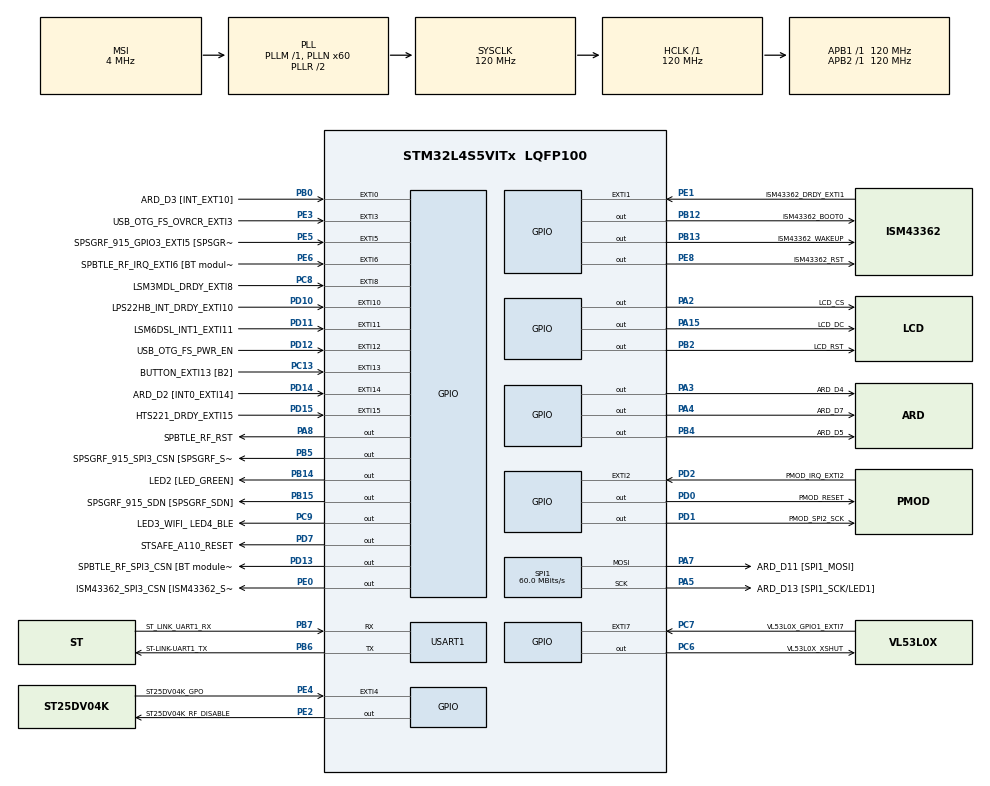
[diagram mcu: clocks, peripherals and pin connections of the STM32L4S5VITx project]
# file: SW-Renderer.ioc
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Dma.Request0=SPI1_TX
Dma.SPI1_TX.0.Direction=DMA_MEMORY_TO_PERIPH
Dma.SPI1_TX.0.EventEnable=DISABLE
Dma.SPI1_TX.0.Instance=DMA1_Channel1
Dma.SPI1_TX.0.MemDataAlignment=DMA_MDATAALIGN_HALFWORD
Dma.SPI1_TX.0.MemInc=DMA_MINC_ENABLE
Dma.SPI1_TX.0.Mode=DMA_NORMAL
Dma.SPI1_TX.0.PeriphDataAlignment=DMA_PDATAALIGN_HALFWORD
Dma.SPI1_TX.0.PeriphInc=DMA_PINC_DISABLE
Dma.SPI1_TX.0.Polarity=HAL_DMAMUX_REQUEST_GEN_RISING
Dma.SPI1_TX.0.Priority=DMA_PRIORITY_HIGH
Dma.SPI1_TX.0.RequestNumber=1
Dma.SPI1_TX.0.SignalID=NONE
Dma.SPI1_TX.0.SyncEnable=DISABLE
Dma.SPI1_TX.0.SyncPolarity=HAL_DMAMUX_SYNC_NO_EVENT
Dma.SPI1_TX.0.SyncRequestNumber=1
Dma.SPI1_TX.0.SyncSignalID=NONE
Mcu.Family=STM32L4
Mcu.Name=STM32L4S5VITx
Mcu.Package=LQFP100
NVIC.DMA1_Channel1_IRQn=true\:0\:0\:false\:false\:true\:false\:true\:true
NVIC.EXTI15_10_IRQn=true\:0\:0\:false\:false\:true\:true\:true\:true
NVIC.EXTI9_5_IRQn=true\:0\:0\:false\:false\:true\:true\:true\:true
NVIC.PriorityGroup=NVIC_PRIORITYGROUP_4
NVIC.SPI1_IRQn=true\:0\:0\:false\:false\:true\:true\:true\:true
PA0.GPIO_Label=ARD_D1 [UART4_TX]
PA0.GPIO_ModeDefaultPP=GPIO_MODE_AF_PP
PA0.GPIO_PuPd=GPIO_NOPULL
PA0.GPIO_Speed=GPIO_SPEED_FREQ_VERY_HIGH
PA0.Signal=UART4_TX
PA1.GPIO_Label=ARD_D0 [UART4_RX]
PA1.GPIO_ModeDefaultPP=GPIO_MODE_AF_PP
PA1.GPIO_PuPd=GPIO_NOPULL
PA1.GPIO_Speed=GPIO_SPEED_FREQ_VERY_HIGH
PA1.Signal=UART4_RX
PA13\ (JTMS/SWDIO).GPIO_Label=SYS_JTMS_SWDIO
PA13\ (JTMS/SWDIO).Mode=Serial_Wire
PA13\ (JTMS/SWDIO).Signal=SYS_JTMS-SWDIO
PA14\ (JTCK/SWCLK).GPIO_Label=SYS_JTCK_SWCLK
PA14\ (JTCK/SWCLK).Mode=Serial_Wire
PA14\ (JTCK/SWCLK).Signal=SYS_JTCK-SWCLK
PA15\ (JTDI).GPIO_Label=LCD_DC
PA15\ (JTDI).Signal=GPIO_Output
PA2.GPIO_Label=LCD_CS
PA2.Signal=GPIO_Output
PA3.GPIO_Label=ARD_D4
PA3.Signal=GPIO_Output
PA4.GPIO_Label=ARD_D7
PA4.Signal=GPIO_Output
PA5.GPIO_Label=ARD_D13 [SPI1_SCK/LED1]
PA5.GPIO_Mode=GPIO_MODE_AF_PP
PA5.GPIO_PuPd=GPIO_NOPULL
PA5.GPIO_Speed=GPIO_SPEED_FREQ_VERY_HIGH
PA5.Mode=TX_Only_Simplex_Unidirect_Master
PA5.Signal=SPI1_SCK
PA6.GPIO_Label=ARD_D12 [SPI1_MISO]
PA6.GPIO_Mode=GPIO_MODE_AF_PP
PA6.GPIO_PuPd=GPIO_NOPULL
PA6.GPIO_Speed=GPIO_SPEED_FREQ_VERY_HIGH
PA6.Signal=SPI1_MISO
PA7.GPIO_Label=ARD_D11 [SPI1_MOSI]
PA7.GPIO_Mode=GPIO_MODE_AF_PP
PA7.GPIO_PuPd=GPIO_NOPULL
PA7.GPIO_Speed=GPIO_SPEED_FREQ_VERY_HIGH
PA7.Mode=TX_Only_Simplex_Unidirect_Master
PA7.Signal=SPI1_MOSI
PA8.GPIO_Label=SPBTLE_RF_RST
PA8.GPIO_ModeDefaultOutputPP=GPIO_MODE_OUTPUT_PP
PA8.GPIO_PuPd=GPIO_NOPULL
PA8.GPIO_Speed=GPIO_SPEED_FREQ_LOW
PA8.PinState=GPIO_PIN_RESET
PA8.Signal=GPIO_Output
PA9.GPIO_Label=USB_OTG_FS_VBUS
PA9.GPIO_Mode=GPIO_MODE_INPUT
PA9.GPIO_PuPd=GPIO_NOPULL
PA9.Signal=USB_OTG_FS_VBUS
PB0.GPIO_Label=ARD_D3 [INT_EXT10]
PB0.GPIO_ModeDefaultEXTI=GPIO_MODE_IT_RISING
PB0.GPIO_PuPd=GPIO_NOPULL
PB0.Signal=GPXTI0
PB1.GPIO_Label=ARD_D6
PB1.GPIO_Speed=GPIO_SPEED_FREQ_LOW
PB1.Signal=S_TIM3_CH4
PB10.GPIO_Label=INTERNAL_I2C2_SCL [MEMs]
PB10.GPIO_Mode=GPIO_MODE_AF_OD
PB10.GPIO_PuPdOD=GPIO_PULLUP
PB10.GPIO_Speed=GPIO_SPEED_FREQ_VERY_HIGH
PB10.Signal=I2C2_SCL
PB11.GPIO_Label=INTERNAL_I2C2_SDA [MEMs]
PB11.GPIO_Mode=GPIO_MODE_AF_OD
PB11.GPIO_PuPdOD=GPIO_PULLUP
PB11.GPIO_Speed=GPIO_SPEED_FREQ_VERY_HIGH
PB11.Signal=I2C2_SDA
PB12.GPIO_Label=ISM43362_BOOT0
PB12.GPIO_ModeDefaultOutputPP=GPIO_MODE_OUTPUT_PP
PB12.GPIO_PuPd=GPIO_NOPULL
PB12.GPIO_Speed=GPIO_SPEED_FREQ_LOW
PB12.PinState=GPIO_PIN_RESET
PB12.Signal=GPIO_Output
PB13.GPIO_Label=ISM43362_WAKEUP
PB13.GPIO_ModeDefaultOutputPP=GPIO_MODE_OUTPUT_PP
PB13.GPIO_PuPd=GPIO_NOPULL
PB13.GPIO_Speed=GPIO_SPEED_FREQ_LOW
PB13.PinState=GPIO_PIN_RESET
PB13.Signal=GPIO_Output
PB14.GPIO_Label=LED2 [LED_GREEN]
PB14.GPIO_ModeDefaultOutputPP=GPIO_MODE_OUTPUT_PP
PB14.GPIO_PuPd=GPIO_NOPULL
PB14.GPIO_Speed=GPIO_SPEED_FREQ_LOW
PB14.PinState=GPIO_PIN_RESET
PB14.Signal=GPIO_Output
PB15.GPIO_Label=SPSGRF_915_SDN [SPSGRF_SDN]
PB15.Signal=GPIO_Output
PB2.GPIO_Label=LCD_RST
PB2.Signal=GPIO_Output
PB3\ (JTDO/TRACESWO).GPIO_Label=SYS_JTD0_SWO
PB3\ (JTDO/TRACESWO).Signal=SYS_JTDO-SWO
PB4\ (NJTRST).GPIO_Label=ARD_D5
PB4\ (NJTRST).GPIO_ModeDefaultOutputPP=GPIO_MODE_OUTPUT_PP
PB4\ (NJTRST).GPIO_PuPd=GPIO_NOPULL
PB4\ (NJTRST).GPIO_Speed=GPIO_SPEED_FREQ_LOW
PB4\ (NJTRST).PinState=GPIO_PIN_RESET
PB4\ (NJTRST).Signal=GPIO_Output
PB5.GPIO_Label=SPSGRF_915_SPI3_CSN [SPSGRF_SPI_CS]
PB5.Signal=GPIO_Output
PB6.GPIO_FM6=__NULL
PB6.GPIO_Label=ST-LINK-UART1_TX
PB6.GPIO_ModeDefaultPP=GPIO_MODE_AF_PP
PB6.GPIO_PuPd=GPIO_NOPULL
PB6.GPIO_Speed=GPIO_SPEED_FREQ_VERY_HIGH
PB6.Mode=Asynchronous
PB6.Signal=USART1_TX
PB7.GPIO_FM7=__NULL
PB7.GPIO_Label=ST_LINK_UART1_RX
PB7.GPIO_ModeDefaultPP=GPIO_MODE_AF_PP
PB7.GPIO_PuPd=GPIO_NOPULL
PB7.GPIO_Speed=GPIO_SPEED_FREQ_VERY_HIGH
PB7.Mode=Asynchronous
PB7.Signal=USART1_RX
PB8.GPIO_FM8=__NULL
PB8.GPIO_Label=ARD_D15 [I2C1_SCL]
PB8.GPIO_Mode=GPIO_MODE_AF_OD
PB8.GPIO_PuPdOD=GPIO_PULLUP
PB8.GPIO_Speed=GPIO_SPEED_FREQ_VERY_HIGH
PB8.Signal=I2C1_SCL
PB9.GPIO_FM9=__NULL
PB9.GPIO_Label=ARD_D14 [I2C1_SDA]
PB9.GPIO_Mode=GPIO_MODE_AF_OD
PB9.GPIO_PuPdOD=GPIO_PULLUP
PB9.GPIO_Speed=GPIO_SPEED_FREQ_VERY_HIGH
PB9.Signal=I2C1_SDA
PC0.GPIO_Label=ARD_A5 [ADC]
PC0.GPIO_Mode=GPIO_MODE_ANALOG_ADC_CONTROL
PC0.GPIO_PuPd=GPIO_NOPULL
PC0.Signal=ADCx_IN1
PC1.GPIO_Label=ARD_A4 [ADC]
PC1.GPIO_Mode=GPIO_MODE_ANALOG_ADC_CONTROL
PC1.GPIO_PuPd=GPIO_NOPULL
PC1.Signal=ADCx_IN2
PC10.GPIO_Label=INTERNAL-SPI3_SCK [BT module_SPI_MOSI] [ISM43362_MOSI]
PC10.GPIO_Mode=GPIO_MODE_AF_PP
PC10.GPIO_PuPd=GPIO_NOPULL
PC10.GPIO_Speed=GPIO_SPEED_FREQ_VERY_HIGH
PC10.Signal=SPI3_SCK
PC11.GPIO_Label=INTERNAL_SPI3_MISO [BT module_SPI_MOSI] [ISM43362_MOSI]
PC11.GPIO_Mode=GPIO_MODE_AF_PP
PC11.GPIO_PuPd=GPIO_NOPULL
PC11.GPIO_Speed=GPIO_SPEED_FREQ_VERY_HIGH
PC11.Signal=SPI3_MISO
PC12.GPIO_Label=INTERNAL_SPI3_MOSI [BT module_SPI_MOSI] [ISM43362_MOSI]
PC12.GPIO_Mode=GPIO_MODE_AF_PP
PC12.GPIO_PuPd=GPIO_NOPULL
PC12.GPIO_Speed=GPIO_SPEED_FREQ_VERY_HIGH
PC12.Signal=SPI3_MOSI
PC13.GPIO_Label=BUTTON_EXTI13 [B2]
PC13.GPIO_ModeDefaultEXTI=GPIO_MODE_IT_RISING
PC13.GPIO_PuPd=GPIO_NOPULL
PC13.Signal=GPXTI13
PC2.GPIO_Label=ARD_A3 [ADC]
PC2.GPIO_Mode=GPIO_MODE_ANALOG_ADC_CONTROL
PC2.GPIO_PuPd=GPIO_NOPULL
PC2.Signal=ADCx_IN3
PC3.GPIO_Label=ARD_A2 [ADC]
PC3.GPIO_Mode=GPIO_MODE_ANALOG_ADC_CONTROL
PC3.GPIO_PuPd=GPIO_NOPULL
PC3.Signal=ADCx_IN4
PC4.GPIO_Label=ARD_A1 [ADC]
PC4.GPIO_Mode=GPIO_MODE_ANALOG_ADC_CONTROL
PC4.GPIO_PuPd=GPIO_NOPULL
PC4.Signal=ADCx_IN13
PC5.GPIO_Label=ARD_A0 [ADC]
PC5.GPIO_Mode=GPIO_MODE_ANALOG_ADC_CONTROL
PC5.GPIO_PuPd=GPIO_NOPULL
PC5.Signal=ADCx_IN14
PC6.GPIO_Label=VL53L0X_XSHUT
PC6.GPIO_ModeDefaultOutputPP=GPIO_MODE_OUTPUT_PP
PC6.GPIO_PuPd=GPIO_NOPULL
PC6.GPIO_Speed=GPIO_SPEED_FREQ_LOW
PC6.PinState=GPIO_PIN_RESET
PC6.Signal=GPIO_Output
PC7.GPIO_Label=VL53L0X_GPIO1_EXTI7
PC7.GPIO_ModeDefaultEXTI=GPIO_MODE_IT_RISING
PC7.GPIO_PuPd=GPIO_NOPULL
PC7.Signal=GPXTI7
PC8.GPIO_Label=LSM3MDL_DRDY_EXTI8
PC8.GPIO_ModeDefaultEXTI=GPIO_MODE_IT_RISING
PC8.GPIO_PuPd=GPIO_NOPULL
PC8.Signal=GPXTI8
PC9.GPIO_Label=LED3_WIFI_ LED4_BLE
PC9.GPIO_ModeDefaultOutputPP=GPIO_MODE_OUTPUT_PP
PC9.GPIO_PuPd=GPIO_NOPULL
PC9.GPIO_Speed=GPIO_SPEED_FREQ_LOW
PC9.PinState=GPIO_PIN_RESET
PC9.Signal=GPIO_Output
PD0.GPIO_Label=PMOD_RESET
PD0.GPIO_ModeDefaultOutputPP=GPIO_MODE_OUTPUT_PP
PD0.GPIO_PuPd=GPIO_NOPULL
PD0.GPIO_Speed=GPIO_SPEED_FREQ_LOW
PD0.PinState=GPIO_PIN_RESET
PD0.Signal=GPIO_Output
PD1.GPIO_Label=PMOD_SPI2_SCK
PD1.Signal=GPIO_Output
PD10.GPIO_Label=LPS22HB_INT_DRDY_EXTI10
PD10.GPIO_ModeDefaultEXTI=GPIO_MODE_IT_RISING
PD10.GPIO_PuPd=GPIO_NOPULL
PD10.Signal=GPXTI10
PD11.GPIO_Label=LSM6DSL_INT1_EXTI11
PD11.GPIO_ModeDefaultEXTI=GPIO_MODE_IT_RISING
PD11.GPIO_PuPd=GPIO_NOPULL
PD11.Signal=GPXTI11
PD12.GPIO_Label=USB_OTG_FS_PWR_EN
PD12.GPIO_ModeDefaultEXTI=GPIO_MODE_IT_RISING
PD12.GPIO_PuPd=GPIO_NOPULL
PD12.Signal=GPXTI12
PD13.GPIO_Label=SPBTLE_RF_SPI3_CSN [BT module_SPI_CS]
PD13.GPIO_ModeDefaultOutputPP=GPIO_MODE_OUTPUT_PP
PD13.GPIO_PuPd=GPIO_NOPULL
PD13.GPIO_Speed=GPIO_SPEED_FREQ_LOW
PD13.PinState=GPIO_PIN_RESET
PD13.Signal=GPIO_Output
PD14.GPIO_Label=ARD_D2 [INT0_EXTI14]
PD14.GPIO_ModeDefaultEXTI=GPIO_MODE_IT_RISING
PD14.GPIO_PuPd=GPIO_NOPULL
PD14.Signal=GPXTI14
PD15.GPIO_Label=HTS221_DRDY_EXTI15
PD15.GPIO_ModeDefaultEXTI=GPIO_MODE_IT_RISING
PD15.GPIO_PuPd=GPIO_NOPULL
PD15.Signal=GPXTI15
PD2.GPIO_Label=PMOD_IRQ_EXTI2
PD2.GPIO_ModeDefaultEXTI=GPIO_MODE_IT_RISING
PD2.GPIO_PuPd=GPIO_NOPULL
PD2.Signal=GPXTI2
PD3.GPIO_Label=PMOD_UART2_CTS
PD3.GPIO_Mode=GPIO_MODE_AF_PP
PD3.GPIO_PuPd=GPIO_NOPULL
PD3.GPIO_Speed=GPIO_SPEED_FREQ_VERY_HIGH
PD3.Signal=USART2_CTS
PD4.GPIO_Label=PMOD_UART2_RTS
PD4.GPIO_Mode=GPIO_MODE_AF_PP
PD4.GPIO_PuPd=GPIO_NOPULL
PD4.GPIO_Speed=GPIO_SPEED_FREQ_VERY_HIGH
PD4.Signal=USART2_RTS
PD5.GPIO_Label=PMOD_UART2_TX
PD5.GPIO_ModeDefaultPP=GPIO_MODE_AF_PP
PD5.GPIO_PuPd=GPIO_NOPULL
PD5.GPIO_Speed=GPIO_SPEED_FREQ_VERY_HIGH
PD5.Signal=USART2_TX
PD6.GPIO_Label=PMOD_UART2_RX
PD6.GPIO_ModeDefaultPP=GPIO_MODE_AF_PP
PD6.GPIO_PuPd=GPIO_NOPULL
PD6.GPIO_Speed=GPIO_SPEED_FREQ_VERY_HIGH
PD6.Signal=USART2_RX
PD7.GPIO_Label=STSAFE_A110_RESET
PD7.GPIO_ModeDefaultOutputPP=GPIO_MODE_OUTPUT_PP
PD7.GPIO_PuPd=GPIO_NOPULL
PD7.GPIO_Speed=GPIO_SPEED_FREQ_LOW
PD7.PinState=GPIO_PIN_RESET
PD7.Signal=GPIO_Output
PD8.GPIO_Label=INTERNAL_UART3_TX [ISM43362_RX]
PD8.GPIO_ModeDefaultPP=GPIO_MODE_AF_PP
PD8.GPIO_PuPd=GPIO_NOPULL
PD8.GPIO_Speed=GPIO_SPEED_FREQ_VERY_HIGH
PD8.Signal=USART3_TX
PD9.GPIO_Label=INTERNAL_UART3_RX [ISM43362_TX]
PD9.GPIO_ModeDefaultPP=GPIO_MODE_AF_PP
PD9.GPIO_PuPd=GPIO_NOPULL
PD9.GPIO_Speed=GPIO_SPEED_FREQ_VERY_HIGH
PD9.Signal=USART3_RX
PE0.GPIO_Label=ISM43362_SPI3_CSN [ISM43362_SSN]
PE0.GPIO_ModeDefaultOutputPP=GPIO_MODE_OUTPUT_PP
PE0.GPIO_PuPd=GPIO_NOPULL
PE0.GPIO_Speed=GPIO_SPEED_FREQ_LOW
PE0.PinState=GPIO_PIN_RESET
PE0.Signal=GPIO_Output
PE1.GPIO_Label=ISM43362_DRDY_EXTI1
PE1.GPIO_ModeDefaultEXTI=GPIO_MODE_IT_RISING
PE1.GPIO_PuPd=GPIO_NOPULL
PE1.Signal=GPXTI1
PE10.GPIO_Label=QUADSPI_CLK [MX25R6435F_SCLK]
PE10.GPIO_Mode=GPIO_MODE_AF_PP
PE10.GPIO_PuPd=GPIO_NOPULL
PE10.GPIO_Speed_High_Default=GPIO_SPEED_FREQ_VERY_HIGH
PE10.Signal=OCTOSPIM_P1_CLK
PE11.GPIO_Label=QUADSPI_NCS [MX25R6435F_SCLK]
PE11.GPIO_Mode=GPIO_MODE_AF_PP
PE11.GPIO_PuPd=GPIO_NOPULL
PE11.GPIO_Speed_High_Default=GPIO_SPEED_FREQ_VERY_HIGH
PE11.Signal=OCTOSPIM_P1_NCS
PE12.GPIO_Label=OQUADSPI_BK1_IO0 [MX25R6435F_IO0]
PE12.GPIO_Mode=GPIO_MODE_AF_PP
PE12.GPIO_PuPd=GPIO_NOPULL
PE12.GPIO_Speed_High_Default=GPIO_SPEED_FREQ_VERY_HIGH
PE12.Signal=OCTOSPIM_P1_IO0
PE13.GPIO_Label=QUADSPI_BK1_IO1 [MX25R6435F_IO1]
PE13.GPIO_Mode=GPIO_MODE_AF_PP
PE13.GPIO_PuPd=GPIO_NOPULL
PE13.GPIO_Speed_High_Default=GPIO_SPEED_FREQ_VERY_HIGH
PE13.Signal=OCTOSPIM_P1_IO1
PE14.GPIO_Label=QUAD_SPI_BK1_IO2 [MX25R6435F_IO2]
PE14.GPIO_Mode=GPIO_MODE_AF_PP
PE14.GPIO_PuPd=GPIO_NOPULL
PE14.GPIO_Speed_High_Default=GPIO_SPEED_FREQ_VERY_HIGH
PE14.Signal=OCTOSPIM_P1_IO2
PE15.GPIO_Label=QUAD_SPI_BK1_IO3 [MX25R6435F_IO3]
PE15.GPIO_Mode=GPIO_MODE_AF_PP
PE15.GPIO_PuPd=GPIO_NOPULL
PE15.GPIO_Speed_High_Default=GPIO_SPEED_FREQ_VERY_HIGH
PE15.Signal=OCTOSPIM_P1_IO3
PE2.GPIO_Label=ST25DV04K_RF_DISABLE
PE2.GPIO_ModeDefaultOutputPP=GPIO_MODE_OUTPUT_PP
PE2.GPIO_PuPd=GPIO_NOPULL
PE2.GPIO_Speed=GPIO_SPEED_FREQ_LOW
PE2.PinState=GPIO_PIN_RESET
PE2.Signal=GPIO_Output
PE3.GPIO_Label=USB_OTG_FS_OVRCR_EXTI3
PE3.GPIO_ModeDefaultEXTI=GPIO_MODE_IT_RISING
PE3.GPIO_PuPd=GPIO_NOPULL
PE3.Signal=GPXTI3
PE4.GPIO_Label=ST25DV04K_GPO
PE4.GPIO_ModeDefaultEXTI=GPIO_MODE_IT_RISING
PE4.GPIO_PuPd=GPIO_NOPULL
PE4.Signal=GPXTI4
PE5.GPIO_Label=SPSGRF_915_GPIO3_EXTI5 [SPSGRF_GPIO_3]
PE5.Signal=GPXTI5
PE6.GPIO_Label=SPBTLE_RF_IRQ_EXTI6 [BT module_SPI_IRQ]
PE6.GPIO_ModeDefaultEXTI=GPIO_MODE_IT_RISING
PE6.GPIO_PuPd=GPIO_NOPULL
PE6.Signal=GPXTI6
PE7.GPIO_Label=DFSDM1_DATIN2 [MP34DT01_DOUT]
PE7.GPIO_Mode=GPIO_MODE_AF_PP
PE7.GPIO_PuPd=GPIO_NOPULL
PE7.GPIO_Speed=GPIO_SPEED_FREQ_LOW
PE7.Signal=S_DATAIN2DFSDM1
PE8.GPIO_Label=ISM43362_RST
PE8.GPIO_ModeDefaultOutputPP=GPIO_MODE_OUTPUT_PP
PE8.GPIO_PuPd=GPIO_NOPULL
PE8.GPIO_Speed=GPIO_SPEED_FREQ_LOW
PE8.PinState=GPIO_PIN_RESET
PE8.Signal=GPIO_Output
PE9.GPIO_Label=DFSDM1_CKOUT [MP34DT01_CLK]
PE9.GPIO_Mode=GPIO_MODE_AF_PP
PE9.GPIO_PuPd=GPIO_NOPULL
PE9.GPIO_Speed=GPIO_SPEED_FREQ_LOW
PE9.Signal=S_CKOUTDFSDM1
ProjectManager.HeapSize=0x200
ProjectManager.StackSize=0x400
ProjectManager.TargetToolchain=STM32CubeIDE
RCC.ADCFreq_Value=48000000
RCC.AHBFreq_Value=120000000
RCC.APB1Freq_Value=120000000
RCC.APB1TimFreq_Value=120000000
RCC.APB2Freq_Value=120000000
RCC.APB2TimFreq_Value=120000000
RCC.CortexFreq_Value=120000000
RCC.HCLKFreq_Value=120000000
RCC.HSE_VALUE=8000000
RCC.HSI48_VALUE=48000000
RCC.HSI_VALUE=16000000
RCC.LSE_VALUE=32768
RCC.MSI_VALUE=4000000
RCC.PLLN=60
RCC.PLLSAI1N=24
RCC.SYSCLKFreq_VALUE=120000000
RCC.SYSCLKSource=RCC_SYSCLKSOURCE_PLLCLK
RCC.USBFreq_Value=48000000
RCC.VCOOutputFreq_Value=240000000
SH.ADCx_IN1.0=ADC1_IN1
SH.ADCx_IN13.0=ADC1_IN13
SH.ADCx_IN14.0=ADC1_IN14
SH.ADCx_IN2.0=ADC1_IN2
SH.ADCx_IN3.0=ADC1_IN3
SH.ADCx_IN4.0=ADC1_IN4
SH.S_CKOUTDFSDM1.0=DFSDM1_CKOUT
SH.S_DATAIN2DFSDM1.0=DFSDM1_DATIN2
SH.S_TIM3_CH4.0=TIM3_CH4
SPI1.BaudRatePrescaler=SPI_BAUDRATEPRESCALER_2
SPI1.CalculateBaudRate=60.0 MBits/s
SPI1.DataSize=SPI_DATASIZE_16BIT
SPI1.Direction=SPI_DIRECTION_2LINES
SPI1.Mode=SPI_MODE_MASTER
SPI1.VirtualType=VM_MASTER
USART1.VirtualMode-Asynchronous=VM_ASYNC
board=B-L4S5I-IOT01A

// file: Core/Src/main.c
/* USER CODE BEGIN Header */
/**
  ******************************************************************************
  * @file           : main.c
  * @brief          : Main program body
  ******************************************************************************
  * @attention
  *
  * Copyright (c) 2026 STMicroelectronics.
  * All rights reserved.
  *
  * This software is licensed under terms that can be found in the LICENSE file
  * in the root directory of this software component.
  * If no LICENSE file comes with this software, it is provided AS-IS.
  *
  ******************************************************************************
  */
/* USER CODE END Header */
#include "main.h"

/* USER CODE BEGIN Includes */
#include <stdio.h>
#include "lcd.h"
#include "timing.h"
#include "gfx.h"
#include "mat.h"
#include "render.h"
/* USER CODE END Includes */

SPI_HandleTypeDef hspi1;
DMA_HandleTypeDef hdma_spi1_tx;

UART_HandleTypeDef huart1;

void SystemClock_Config(void);
static void MX_GPIO_Init(void);
static void MX_DMA_Init(void);
static void MX_SPI1_Init(void);
static void MX_USART1_UART_Init(void);

/* USER CODE BEGIN PFP */
int __io_putchar(int ch);
/* USER CODE END PFP */

int main(void)
{

  /* MCU Configuration--------------------------------------------------------*/

  /* Reset of all peripherals, Initializes the Flash interface and the Systick. */
  HAL_Init();

  /* Configure the system clock */
  SystemClock_Config();

  /* Initialize all configured peripherals */
  MX_GPIO_Init();
  MX_DMA_Init();
  MX_SPI1_Init();
  MX_USART1_UART_Init();
  /* USER CODE BEGIN 2 */
  setvbuf(stdout, NULL, _IONBF, 0);
  printf("SW-Renderer boot, SYSCLK=%lu\r\n", HAL_RCC_GetSysClockFreq());

  Timing_Init();

  //timer sanity check: should print ~100000 us
  uint32_t t0 = timing_cycles();
  HAL_Delay(100);
  printf("HAL_Delay(100) = %lu us\r\n", cycle_to_us(timing_cycles() - t0));

  lcd_init(&hspi1);
  printf("lcd init done\r\n");

  //light from the upper left, slightly in front (camera space: x right, y up, z away)
  render_set_light(vec3_make(FX(-1.0), FX(1.0), FX(-1.0)));
  const mesh *model = &mesh_torus; //or &mesh_cube
  const uint16_t model_color = GFX_RGB(240, 150, 40); //used when the mesh has no per-triangle colors
  const vec3 model_pos = { 0, 0, FX(4.0) }; //model center is 4 units in front of the camera

  printf("strips: %d rows, %d per frame, buffers %lu bytes\r\n", GFX_STRIP_ROWS, GFX_HEIGHT / GFX_STRIP_ROWS,
         (unsigned long)(3 * GFX_STRIP_PIXELS * sizeof(uint16_t)));

  //one-time benchmark: cost of a 64-bit division (no hardware support on the M4,
  //so it's a software routine). volatile so the compiler can't precompute it
  {
    volatile int64_t num = 0x123456789ALL, den = 12345;
    volatile int64_t sink = 0;
    uint32_t t_div = timing_cycles();
    for (int i = 0; i < 1000; i++)
      sink = num / (den + i);
    t_div = timing_cycles() - t_div;
    (void)sink;
    printf("64-bit divide: ~%lu cycles each (incl. loop)\r\n", t_div / 1000);
  }

  fx_angle ax = 0, ay = 0, az = 0;
  uint32_t frame = 0, prep_sum = 0, clear_sum = 0, draw_sum = 0, wait_sum = 0, frame_sum = 0, raster_calls = 0;
  render_stats stats = { 0 };
  uint32_t frame_start = timing_cycles();
  /* USER CODE END 2 */

  /* Infinite loop */
  while (1)
  {

    /* USER CODE BEGIN 3 */
    uint32_t t = timing_cycles();

    mat3 rot;
    mat3_rotate_xyz(&rot, ax, ay, az);
    render_prepare(model, &rot, model_pos, model_color, 1, &stats);

    prep_sum += timing_cycles() - t;

    for (int32_t y0 = 0; y0 < GFX_HEIGHT; y0 += GFX_STRIP_ROWS)
    {
      t = timing_cycles();
      gfx_begin_strip(y0, GFX_STRIP_ROWS);
      gfx_clear(GFX_BLACK);
      gfx_clear_depth();
      uint32_t t_draw = timing_cycles();
      clear_sum += t_draw - t;

      raster_calls += render_draw();
      draw_sum += timing_cycles() - t_draw;

      //double buffering: the previous frame (in the other buffer) may still be sending.
      //wait for it to finish, since that buffer is the one we draw into next.
      uint32_t wait_start = timing_cycles();
      while (lcd_busy()) {}
      wait_sum += timing_cycles() - wait_start;

      //send the frame just drawn (returns right away) and switch to the other buffer
      lcd_draw_rows(gfx_swap(), y0, GFX_STRIP_ROWS);
    }

    uint32_t now = timing_cycles();
    frame_sum += now - frame_start;
    frame_start = now;

    //print averages every 30 frames (printing every frame would slow it down)
    if (++frame % 30 == 0)
    {
      uint32_t frame_us = cycle_to_us(frame_sum / 30);
      uint32_t prep_us = cycle_to_us(prep_sum / 30);
      uint32_t clear_us = cycle_to_us(clear_sum / 30);
      uint32_t draw_us = cycle_to_us(draw_sum / 30);
      uint32_t render_us = prep_us + clear_us + draw_us;
      printf("render %lu us (prepare %lu, clear %lu, draw %lu), wait %lu us, frame %lu us, %lu FPS, CPU busy %lu%%"
             " | tris/frame: %lu drawn, %lu culled, %lu raster calls\r\n",
             render_us, prep_us, clear_us, draw_us, cycle_to_us(wait_sum / 30), frame_us, 1000000 / frame_us,
             render_us * 100 / frame_us, stats.tris_drawn / 30, stats.tris_culled / 30, raster_calls / 30);
      prep_sum = clear_sum = draw_sum = wait_sum = frame_sum = raster_calls = 0;
      stats = (render_stats){ 0 };
    }

    //different speed per axis gives a tumbling motion
    ax += 13;
    ay += 21;
    az += 8;
  }
  /* USER CODE END 3 */
}

void SystemClock_Config(void)
{
  RCC_OscInitTypeDef RCC_OscInitStruct = {0};
  RCC_ClkInitTypeDef RCC_ClkInitStruct = {0};

  /** Configure the main internal regulator output voltage
  */
  if (HAL_PWREx_ControlVoltageScaling(PWR_REGULATOR_VOLTAGE_SCALE1_BOOST) != HAL_OK)
  {
    Error_Handler();
  }

  /** Initializes the RCC Oscillators according to the specified parameters
  * in the RCC_OscInitTypeDef structure.
  */
  RCC_OscInitStruct.OscillatorType = RCC_OSCILLATORTYPE_MSI;
  RCC_OscInitStruct.MSIState = RCC_MSI_ON;
  RCC_OscInitStruct.MSICalibrationValue = 0;
  RCC_OscInitStruct.MSIClockRange = RCC_MSIRANGE_6;
  RCC_OscInitStruct.PLL.PLLState = RCC_PLL_ON;
  RCC_OscInitStruct.PLL.PLLSource = RCC_PLLSOURCE_MSI;
  RCC_OscInitStruct.PLL.PLLM = 1;
  RCC_OscInitStruct.PLL.PLLN = 60;
  RCC_OscInitStruct.PLL.PLLP = RCC_PLLP_DIV2;
  RCC_OscInitStruct.PLL.PLLQ = RCC_PLLQ_DIV2;
  RCC_OscInitStruct.PLL.PLLR = RCC_PLLR_DIV2;
  if (HAL_RCC_OscConfig(&RCC_OscInitStruct) != HAL_OK)
  {
    Error_Handler();
  }

  /** Initializes the CPU, AHB and APB buses clocks
  */
  RCC_ClkInitStruct.ClockType = RCC_CLOCKTYPE_HCLK|RCC_CLOCKTYPE_SYSCLK
                              |RCC_CLOCKTYPE_PCLK1|RCC_CLOCKTYPE_PCLK2;
  RCC_ClkInitStruct.SYSCLKSource = RCC_SYSCLKSOURCE_PLLCLK;
  RCC_ClkInitStruct.AHBCLKDivider = RCC_SYSCLK_DIV1;
  RCC_ClkInitStruct.APB1CLKDivider = RCC_HCLK_DIV1;
  RCC_ClkInitStruct.APB2CLKDivider = RCC_HCLK_DIV1;

  if (HAL_RCC_ClockConfig(&RCC_ClkInitStruct, FLASH_LATENCY_5) != HAL_OK)
  {
    Error_Handler();
  }
}

static void MX_SPI1_Init(void)
{

  /* SPI1 parameter configuration*/
  hspi1.Instance = SPI1;
  hspi1.Init.Mode = SPI_MODE_MASTER;
  hspi1.Init.Direction = SPI_DIRECTION_2LINES;
  hspi1.Init.DataSize = SPI_DATASIZE_16BIT;
  hspi1.Init.CLKPolarity = SPI_POLARITY_LOW;
  hspi1.Init.CLKPhase = SPI_PHASE_1EDGE;
  hspi1.Init.NSS = SPI_NSS_SOFT;
  hspi1.Init.BaudRatePrescaler = SPI_BAUDRATEPRESCALER_2;
  hspi1.Init.FirstBit = SPI_FIRSTBIT_MSB;
  hspi1.Init.TIMode = SPI_TIMODE_DISABLE;
  hspi1.Init.CRCCalculation = SPI_CRCCALCULATION_DISABLE;
  hspi1.Init.CRCPolynomial = 7;
  hspi1.Init.CRCLength = SPI_CRC_LENGTH_DATASIZE;
  hspi1.Init.NSSPMode = SPI_NSS_PULSE_ENABLE;
  if (HAL_SPI_Init(&hspi1) != HAL_OK)
  {
    Error_Handler();
  }

}

static void MX_USART1_UART_Init(void)
{

  huart1.Instance = USART1;
  huart1.Init.BaudRate = 115200;
  huart1.Init.WordLength = UART_WORDLENGTH_8B;
  huart1.Init.StopBits = UART_STOPBITS_1;
  huart1.Init.Parity = UART_PARITY_NONE;
  huart1.Init.Mode = UART_MODE_TX_RX;
  huart1.Init.HwFlowCtl = UART_HWCONTROL_NONE;
  huart1.Init.OverSampling = UART_OVERSAMPLING_16;
  huart1.Init.OneBitSampling = UART_ONE_BIT_SAMPLE_DISABLE;
  huart1.Init.ClockPrescaler = UART_PRESCALER_DIV1;
  huart1.AdvancedInit.AdvFeatureInit = UART_ADVFEATURE_NO_INIT;
  if (HAL_UART_Init(&huart1) != HAL_OK)
  {
    Error_Handler();
  }
  if (HAL_UARTEx_SetTxFifoThreshold(&huart1, UART_TXFIFO_THRESHOLD_1_8) != HAL_OK)
  {
    Error_Handler();
  }
  if (HAL_UARTEx_SetRxFifoThreshold(&huart1, UART_RXFIFO_THRESHOLD_1_8) != HAL_OK)
  {
    Error_Handler();
  }
  if (HAL_UARTEx_DisableFifoMode(&huart1) != HAL_OK)
  {
    Error_Handler();
  }

}

static void MX_DMA_Init(void)
{

  /* DMA controller clock enable */
  __HAL_RCC_DMAMUX1_CLK_ENABLE();
  __HAL_RCC_DMA1_CLK_ENABLE();

  /* DMA interrupt init */
  /* DMA1_Channel1_IRQn interrupt configuration */
  HAL_NVIC_SetPriority(DMA1_Channel1_IRQn, 0, 0);
  HAL_NVIC_EnableIRQ(DMA1_Channel1_IRQn);

}

static void MX_GPIO_Init(void)
{
  GPIO_InitTypeDef GPIO_InitStruct = {0};

  /* GPIO Ports Clock Enable */
  __HAL_RCC_GPIOE_CLK_ENABLE();
  __HAL_RCC_GPIOC_CLK_ENABLE();
  __HAL_RCC_GPIOA_CLK_ENABLE();
  __HAL_RCC_GPIOB_CLK_ENABLE();
  __HAL_RCC_GPIOD_CLK_ENABLE();

  /*Configure GPIO pin Output Level */
  HAL_GPIO_WritePin(GPIOE, ST25DV04K_RF_DISABLE_Pin|ISM43362_RST_Pin|ISM43362_SPI3_CSN_Pin, GPIO_PIN_RESET);

  /*Configure GPIO pin Output Level */
  HAL_GPIO_WritePin(GPIOA, LCD_CS_Pin|ARD_D4_Pin|ARD_D7_Pin|SPBTLE_RF_RST_Pin
                          |LCD_DC_Pin, GPIO_PIN_RESET);

  /*Configure GPIO pin Output Level */
  HAL_GPIO_WritePin(GPIOB, LCD_RST_Pin|ISM43362_BOOT0_Pin|ISM43362_WAKEUP_Pin|LED2_Pin
                          |SPSGRF_915_SDN_Pin|ARD_D5_Pin|SPSGRF_915_SPI3_CSN_Pin, GPIO_PIN_RESET);

  /*Configure GPIO pin Output Level */
  HAL_GPIO_WritePin(GPIOD, SPBTLE_RF_SPI3_CSN_Pin|PMOD_RESET_Pin|PMOD_SPI2_SCK_Pin|STSAFE_A110_RESET_Pin, GPIO_PIN_RESET);

  /*Configure GPIO pin Output Level */
  HAL_GPIO_WritePin(GPIOC, VL53L0X_XSHUT_Pin|LED3_WIFI__LED4_BLE_Pin, GPIO_PIN_RESET);

  /*Configure GPIO pins : ST25DV04K_RF_DISABLE_Pin ISM43362_RST_Pin ISM43362_SPI3_CSN_Pin */
  GPIO_InitStruct.Pin = ST25DV04K_RF_DISABLE_Pin|ISM43362_RST_Pin|ISM43362_SPI3_CSN_Pin;
  GPIO_InitStruct.Mode = GPIO_MODE_OUTPUT_PP;
  GPIO_InitStruct.Pull = GPIO_NOPULL;
  GPIO_InitStruct.Speed = GPIO_SPEED_FREQ_LOW;
  HAL_GPIO_Init(GPIOE, &GPIO_InitStruct);

  /*Configure GPIO pins : USB_OTG_FS_OVRCR_EXTI3_Pin ST25DV04K_GPO_Pin SPSGRF_915_GPIO3_EXTI5_Pin SPBTLE_RF_IRQ_EXTI6_Pin
                           ISM43362_DRDY_EXTI1_Pin */
  GPIO_InitStruct.Pin = USB_OTG_FS_OVRCR_EXTI3_Pin|ST25DV04K_GPO_Pin|SPSGRF_915_GPIO3_EXTI5_Pin|SPBTLE_RF_IRQ_EXTI6_Pin
                          |ISM43362_DRDY_EXTI1_Pin;
  GPIO_InitStruct.Mode = GPIO_MODE_IT_RISING;
  GPIO_InitStruct.Pull = GPIO_NOPULL;
  HAL_GPIO_Init(GPIOE, &GPIO_InitStruct);

  /*Configure GPIO pins : BUTTON_EXTI13_Pin VL53L0X_GPIO1_EXTI7_Pin LSM3MDL_DRDY_EXTI8_Pin */
  GPIO_InitStruct.Pin = BUTTON_EXTI13_Pin|VL53L0X_GPIO1_EXTI7_Pin|LSM3MDL_DRDY_EXTI8_Pin;
  GPIO_InitStruct.Mode = GPIO_MODE_IT_RISING;
  GPIO_InitStruct.Pull = GPIO_NOPULL;
  HAL_GPIO_Init(GPIOC, &GPIO_InitStruct);

  /*Configure GPIO pins : ARD_A5_Pin ARD_A4_Pin ARD_A3_Pin ARD_A2_Pin
                           ARD_A1_Pin ARD_A0_Pin */
  GPIO_InitStruct.Pin = ARD_A5_Pin|ARD_A4_Pin|ARD_A3_Pin|ARD_A2_Pin
                          |ARD_A1_Pin|ARD_A0_Pin;
  GPIO_InitStruct.Mode = GPIO_MODE_ANALOG_ADC_CONTROL;
  GPIO_InitStruct.Pull = GPIO_NOPULL;
  HAL_GPIO_Init(GPIOC, &GPIO_InitStruct);

  /*Configure GPIO pins : ARD_D1_Pin ARD_D0_Pin */
  GPIO_InitStruct.Pin = ARD_D1_Pin|ARD_D0_Pin;
  GPIO_InitStruct.Mode = GPIO_MODE_AF_PP;
  GPIO_InitStruct.Pull = GPIO_NOPULL;
  GPIO_InitStruct.Speed = GPIO_SPEED_FREQ_VERY_HIGH;
  GPIO_InitStruct.Alternate = GPIO_AF8_UART4;
  HAL_GPIO_Init(GPIOA, &GPIO_InitStruct);

  /*Configure GPIO pins : LCD_CS_Pin ARD_D4_Pin ARD_D7_Pin SPBTLE_RF_RST_Pin
                           LCD_DC_Pin */
  GPIO_InitStruct.Pin = LCD_CS_Pin|ARD_D4_Pin|ARD_D7_Pin|SPBTLE_RF_RST_Pin
                          |LCD_DC_Pin;
  GPIO_InitStruct.Mode = GPIO_MODE_OUTPUT_PP;
  GPIO_InitStruct.Pull = GPIO_NOPULL;
  GPIO_InitStruct.Speed = GPIO_SPEED_FREQ_LOW;
  HAL_GPIO_Init(GPIOA, &GPIO_InitStruct);

  /*Configure GPIO pin : ARD_D3_Pin */
  GPIO_InitStruct.Pin = ARD_D3_Pin;
  GPIO_InitStruct.Mode = GPIO_MODE_IT_RISING;
  GPIO_InitStruct.Pull = GPIO_NOPULL;
  HAL_GPIO_Init(ARD_D3_GPIO_Port, &GPIO_InitStruct);

  /*Configure GPIO pin : ARD_D6_Pin */
  GPIO_InitStruct.Pin = ARD_D6_Pin;
  GPIO_InitStruct.Mode = GPIO_MODE_AF_PP;
  GPIO_InitStruct.Pull = GPIO_NOPULL;
  GPIO_InitStruct.Speed = GPIO_SPEED_FREQ_LOW;
  GPIO_InitStruct.Alternate = GPIO_AF2_TIM3;
  HAL_GPIO_Init(ARD_D6_GPIO_Port, &GPIO_InitStruct);

  /*Configure GPIO pins : LCD_RST_Pin ISM43362_BOOT0_Pin ISM43362_WAKEUP_Pin LED2_Pin
                           SPSGRF_915_SDN_Pin ARD_D5_Pin SPSGRF_915_SPI3_CSN_Pin */
  GPIO_InitStruct.Pin = LCD_RST_Pin|ISM43362_BOOT0_Pin|ISM43362_WAKEUP_Pin|LED2_Pin
                          |SPSGRF_915_SDN_Pin|ARD_D5_Pin|SPSGRF_915_SPI3_CSN_Pin;
  GPIO_InitStruct.Mode = GPIO_MODE_OUTPUT_PP;
  GPIO_InitStruct.Pull = GPIO_NOPULL;
  GPIO_InitStruct.Speed = GPIO_SPEED_FREQ_LOW;
  HAL_GPIO_Init(GPIOB, &GPIO_InitStruct);

  /*Configure GPIO pins : DFSDM1_DATIN2_Pin DFSDM1_CKOUT_Pin */
  GPIO_InitStruct.Pin = DFSDM1_DATIN2_Pin|DFSDM1_CKOUT_Pin;
  GPIO_InitStruct.Mode = GPIO_MODE_AF_PP;
  GPIO_InitStruct.Pull = GPIO_NOPULL;
  GPIO_InitStruct.Speed = GPIO_SPEED_FREQ_LOW;
  GPIO_InitStruct.Alternate = GPIO_AF6_DFSDM1;
  HAL_GPIO_Init(GPIOE, &GPIO_InitStruct);

  /*Configure GPIO pins : QUADSPI_CLK_Pin QUADSPI_NCS_Pin OQUADSPI_BK1_IO0_Pin QUADSPI_BK1_IO1_Pin
                           QUAD_SPI_BK1_IO2_Pin QUAD_SPI_BK1_IO3_Pin */
  GPIO_InitStruct.Pin = QUADSPI_CLK_Pin|QUADSPI_NCS_Pin|OQUADSPI_BK1_IO0_Pin|QUADSPI_BK1_IO1_Pin
                          |QUAD_SPI_BK1_IO2_Pin|QUAD_SPI_BK1_IO3_Pin;
  GPIO_InitStruct.Mode = GPIO_MODE_AF_PP;
  GPIO_InitStruct.Pull = GPIO_NOPULL;
  GPIO_InitStruct.Speed = GPIO_SPEED_FREQ_VERY_HIGH;
  GPIO_InitStruct.Alternate = GPIO_AF10_OCTOSPIM_P1;
  HAL_GPIO_Init(GPIOE, &GPIO_InitStruct);

  /*Configure GPIO pins : INTERNAL_I2C2_SCL_Pin INTERNAL_I2C2_SDA_Pin */
  GPIO_InitStruct.Pin = INTERNAL_I2C2_SCL_Pin|INTERNAL_I2C2_SDA_Pin;
  GPIO_InitStruct.Mode = GPIO_MODE_AF_OD;
  GPIO_InitStruct.Pull = GPIO_NOPULL;
  GPIO_InitStruct.Speed = GPIO_SPEED_FREQ_VERY_HIGH;
  GPIO_InitStruct.Alternate = GPIO_AF4_I2C2;
  HAL_GPIO_Init(GPIOB, &GPIO_InitStruct);

  /*Configure GPIO pins : INTERNAL_UART3_TX_Pin INTERNAL_UART3_RX_Pin */
  GPIO_InitStruct.Pin = INTERNAL_UART3_TX_Pin|INTERNAL_UART3_RX_Pin;
  GPIO_InitStruct.Mode = GPIO_MODE_AF_PP;
  GPIO_InitStruct.Pull = GPIO_NOPULL;
  GPIO_InitStruct.Speed = GPIO_SPEED_FREQ_VERY_HIGH;
  GPIO_InitStruct.Alternate = GPIO_AF7_USART3;
  HAL_GPIO_Init(GPIOD, &GPIO_InitStruct);

  /*Configure GPIO pins : LPS22HB_INT_DRDY_EXTI10_Pin LSM6DSL_INT1_EXTI11_Pin USB_OTG_FS_PWR_EN_Pin ARD_D2_Pin
                           HTS221_DRDY_EXTI15_Pin PMOD_IRQ_EXTI2_Pin */
  GPIO_InitStruct.Pin = LPS22HB_INT_DRDY_EXTI10_Pin|LSM6DSL_INT1_EXTI11_Pin|USB_OTG_FS_PWR_EN_Pin|ARD_D2_Pin
                          |HTS221_DRDY_EXTI15_Pin|PMOD_IRQ_EXTI2_Pin;
  GPIO_InitStruct.Mode = GPIO_MODE_IT_RISING;
  GPIO_InitStruct.Pull = GPIO_NOPULL;
  HAL_GPIO_Init(GPIOD, &GPIO_InitStruct);

  /*Configure GPIO pins : SPBTLE_RF_SPI3_CSN_Pin PMOD_RESET_Pin PMOD_SPI2_SCK_Pin STSAFE_A110_RESET_Pin */
  GPIO_InitStruct.Pin = SPBTLE_RF_SPI3_CSN_Pin|PMOD_RESET_Pin|PMOD_SPI2_SCK_Pin|STSAFE_A110_RESET_Pin;
  GPIO_InitStruct.Mode = GPIO_MODE_OUTPUT_PP;
  GPIO_InitStruct.Pull = GPIO_NOPULL;
  GPIO_InitStruct.Speed = GPIO_SPEED_FREQ_LOW;
  HAL_GPIO_Init(GPIOD, &GPIO_InitStruct);

  /*Configure GPIO pins : VL53L0X_XSHUT_Pin LED3_WIFI__LED4_BLE_Pin */
  GPIO_InitStruct.Pin = VL53L0X_XSHUT_Pin|LED3_WIFI__LED4_BLE_Pin;
  GPIO_InitStruct.Mode = GPIO_MODE_OUTPUT_PP;
  GPIO_InitStruct.Pull = GPIO_NOPULL;
  GPIO_InitStruct.Speed = GPIO_SPEED_FREQ_LOW;
  HAL_GPIO_Init(GPIOC, &GPIO_InitStruct);

  /*Configure GPIO pin : USB_OTG_FS_VBUS_Pin */
  GPIO_InitStruct.Pin = USB_OTG_FS_VBUS_Pin;
  GPIO_InitStruct.Mode = GPIO_MODE_INPUT;
  GPIO_InitStruct.Pull = GPIO_NOPULL;
  HAL_GPIO_Init(USB_OTG_FS_VBUS_GPIO_Port, &GPIO_InitStruct);

  /*Configure GPIO pins : INTERNAL_SPI3_SCK_Pin INTERNAL_SPI3_MISO_Pin INTERNAL_SPI3_MOSI_Pin */
  GPIO_InitStruct.Pin = INTERNAL_SPI3_SCK_Pin|INTERNAL_SPI3_MISO_Pin|INTERNAL_SPI3_MOSI_Pin;
  GPIO_InitStruct.Mode = GPIO_MODE_AF_PP;
  GPIO_InitStruct.Pull = GPIO_NOPULL;
  GPIO_InitStruct.Speed = GPIO_SPEED_FREQ_VERY_HIGH;
  GPIO_InitStruct.Alternate = GPIO_AF6_SPI3;
  HAL_GPIO_Init(GPIOC, &GPIO_InitStruct);

  /*Configure GPIO pins : PMOD_UART2_CTS_Pin PMOD_UART2_RTS_Pin PMOD_UART2_TX_Pin PMOD_UART2_RX_Pin */
  GPIO_InitStruct.Pin = PMOD_UART2_CTS_Pin|PMOD_UART2_RTS_Pin|PMOD_UART2_TX_Pin|PMOD_UART2_RX_Pin;
  GPIO_InitStruct.Mode = GPIO_MODE_AF_PP;
  GPIO_InitStruct.Pull = GPIO_NOPULL;
  GPIO_InitStruct.Speed = GPIO_SPEED_FREQ_VERY_HIGH;
  GPIO_InitStruct.Alternate = GPIO_AF7_USART2;
  HAL_GPIO_Init(GPIOD, &GPIO_InitStruct);

  /*Configure GPIO pins : ARD_D15_Pin ARD_D14_Pin */
  GPIO_InitStruct.Pin = ARD_D15_Pin|ARD_D14_Pin;
  GPIO_InitStruct.Mode = GPIO_MODE_AF_OD;
  GPIO_InitStruct.Pull = GPIO_NOPULL;
  GPIO_InitStruct.Speed = GPIO_SPEED_FREQ_VERY_HIGH;
  GPIO_InitStruct.Alternate = GPIO_AF4_I2C1;
  HAL_GPIO_Init(GPIOB, &GPIO_InitStruct);

  /* EXTI interrupt init*/
  HAL_NVIC_SetPriority(EXTI9_5_IRQn, 0, 0);
  HAL_NVIC_EnableIRQ(EXTI9_5_IRQn);

  HAL_NVIC_SetPriority(EXTI15_10_IRQn, 0, 0);
  HAL_NVIC_EnableIRQ(EXTI15_10_IRQn);

}

/* USER CODE BEGIN 4 */
int __io_putchar(int ch) {
    HAL_UART_Transmit(&huart1, (uint8_t *)&ch, 1, HAL_MAX_DELAY);
    return ch;
}
/* USER CODE END 4 */

void Error_Handler(void)
{
  __disable_irq();
  while (1)
  {
  }
}
